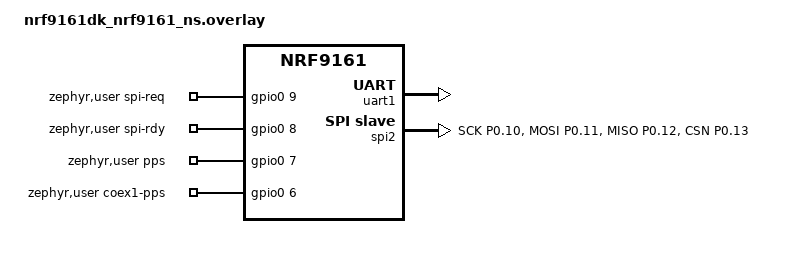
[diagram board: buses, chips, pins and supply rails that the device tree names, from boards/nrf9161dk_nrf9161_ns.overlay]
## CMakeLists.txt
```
#
# Copyright (c) 2024 Nordic Semiconductor
#
# SPDX-License-Identifier: LicenseRef-Nordic-5-Clause
#

cmake_minimum_required(VERSION 3.20.0)

find_package(Zephyr REQUIRED HINTS $ENV{ZEPHYR_BASE})
project(dect_tdma)

file(GLOB app_sources src/*.c)
target_sources(app PRIVATE ${app_sources})
```

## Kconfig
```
#
# Copyright (c) 2024 Nordic Semiconductor
#
# SPDX-License-Identifier: LicenseRef-Nordic-5-Clause
#

menu "TDMA link"

choice
	prompt "TDMA role"
	default TDMA_ROLE_MASTER
	help
	  Which end of the link this image is. The master owns the time base and
	  transmits unconditionally; the slave acquires the master's grid and
	  tracks its clock. Both use the same schedule; only the source of the
	  epoch differs.

config TDMA_ROLE_MASTER
	bool "Master (owns the time base)"

config TDMA_ROLE_SLAVE
	bool "Slave (synchronizes to the master)"

endchoice

endmenu

config CARRIER
	int "Carrier to use"
	default 0
	help
	   The availability of the channels and the exact regulation to use them varies in different countries.
	   See ETSI TS 103 636-2 5.4.2 for the calculation.
	   Band index 1 is set when the carrier is within the range of 525 to 551.
	   This is the only range allowed for band index 1 as other carriers will interfere with other radio devices, including LTE devices.

config NETWORK_ID
	int "Network ID"
	range 1 4294967295
	default 91

config MCS
	int "MCS"
	default 1
	help
	   The MCS impacts how much data can fit into each subslot. prj.conf sets 4.

config TX_POWER
	int "TX power"
	range 0 13
	default 13
	help
	   Transmission power index.
	   See table 6.2.1-3 of ETSI TS 103 636-4 v1.5.1.

menu "Zephyr Kernel"
source "Kconfig.zephyr"
endmenu
```

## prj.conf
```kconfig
# Logging over the VCOM UART
CONFIG_LOG=y
CONFIG_LOG_MODE_DEFERRED=y
CONFIG_SERIAL=y
CONFIG_CONSOLE=y
CONFIG_UART_CONSOLE=y
CONFIG_PRINTK=y
CONFIG_LOG_PRINTK=y
CONFIG_CBPRINTF_FP_SUPPORT=n

# Modem / DECT PHY
CONFIG_NRF_MODEM_LIB=y
CONFIG_NRF_MODEM_LINK_BINARY_DECT_PHY=y
CONFIG_MODEM_ANTENNA=n
CONFIG_MCS=4

# The modem event handler runs on the system workqueue; it must be
# preemptible and below the app threads so TX submission is not delayed
CONFIG_HEAP_MEM_POOL_SIZE=8192
CONFIG_MAIN_STACK_SIZE=4096
CONFIG_SYSTEM_WORKQUEUE_PRIORITY=6
CONFIG_SYSTEM_WORKQUEUE_STACK_SIZE=4096

# SPI slave towards the Teensy, plus the REQ/RDY handshake GPIOs
CONFIG_GPIO=y
CONFIG_NRFX_TIMER=y
CONFIG_NRFX_GPPI=y
CONFIG_SPI=y
CONFIG_SPI_SLAVE=y
CONFIG_SPI_ASYNC=y
CONFIG_POLL=y

CONFIG_TFM_PROFILE_TYPE_MINIMAL=y
CONFIG_HWINFO=y

# Zephyr Logging Puffer deutlich vergrößern
CONFIG_LOG_BUFFER_SIZE=16384
CONFIG_LOG_SPEED=y
```

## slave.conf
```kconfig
# Build the slave image with:
#   west build -b nrf9161dk/nrf9161/ns -- -DEXTRA_CONF_FILE="slave.conf;overlay-eu.conf"
#
# The master is the default and needs no role overlay.

CONFIG_TDMA_ROLE_SLAVE=y

# Larger log buffer so per-packet logging cannot block the modem event handler
CONFIG_LOG_BUFFER_SIZE=16384
```

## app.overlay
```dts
&uart1 {
	status = "okay";
};

&pinctrl {
    spi2_default: spi2_default {
        group1 {
            psels = <
                NRF_PSEL(SPIS_SCK,  0, 10)
                NRF_PSEL(SPIS_MOSI, 0, 11)
                NRF_PSEL(SPIS_MISO, 0, 12)
                NRF_PSEL(SPIS_CSN,  0, 13)
            >;
        };
    };
};

&spi2 {
    compatible = "nordic,nrf-spis";
    status = "okay";
    pinctrl-0 = <&spi2_default>;
    pinctrl-names = "default";
    def-char = <0xFF>;
};

/ {
    zephyr,user {
        coex1-pps-gpios = <&gpio0 6 GPIO_ACTIVE_HIGH>;
        pps-gpios = <&gpio0 7 GPIO_ACTIVE_HIGH>;
    };

    aliases {
        drdy-pin = &drdy_out;
        sw0 = &button0;
    };

    outputs {
        compatible = "gpio-leds";
        drdy_out: drdy_out {
            /* Adjust the pin number to whichever nRF pin you are using */
            gpios = <&gpio0 9 GPIO_ACTIVE_HIGH>;
            label = "Data Ready Output Pin";
        };
    };

    /* Falls das Board-Target Buttons nicht standardmäßig aktiviert hat,
    * wird button0 hier explizit auf den P0.08 (oder den DK-spezifischen Pin) gemappt:
    */
    &gpio0 {
        status = "okay";
    };
};
```

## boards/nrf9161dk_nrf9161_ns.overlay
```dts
/*
 * Copyright (c) 2026 Nordic Semiconductor ASA
 *
 * SPDX-License-Identifier: LicenseRef-Nordic-5-Clause
 */

#include <samples/cellular/nrf91_no_bootloader_partitions.dtsi>
#include <zephyr/dt-bindings/pinctrl/nrf-pinctrl.h>

/delete-node/ &sram0_s;
/delete-node/ &sram0_ns;

&sram0 {
	/*
	 * 0x2000_0000  Secure RAM                      (   32 kB)
	 * 0x2000_8000  Non-secure RAM area             (  224 kB)
	 *   0x2000_8000  Modem shared area             ( 23336 B)
	 *     0x2000_8000  control                     (  1832 B)
	 *     0x2000_8728  app -> cell                 (   15 kB)
	 *     0x2000_c328  cell -> app                 (    6 kB)
	 *   0x2000_db28  Application RAM               (206040 B)
	 */
	sram0_s: sram@0 {
		reg = <0x0 0x8000>;
	};

	sram0_ns: sram@8000 {
		reg = <0x8000 0x38000>;
		#address-cells = <1>;
		#size-cells = <1>;
		ranges = <0x0 0x8000 0x38000>;

		/* Must be in first 128 kB of RAM. */
		sram0_ns_modem: sram0_ns@0 {
			/* Modem (shared) memory */
			reg = <0x0 0x5b28>;
			#address-cells = <1>;
			#size-cells = <1>;
			ranges = <0x0 0x0 0x5b28>;

			cpuapp_cpucell_ipc_shm_ctrl: sram0_ns_modem@0 {
				/* Modem IPC control */
				reg = <0x0 0x728>;
			};

			cpuapp_cpucell_ipc_shm_heap: sram0_ns_modem@728 {
				/* Modem IPC transmit */
				reg = <0x728 0x3c00>;
			};

			cpucell_cpuapp_ipc_shm_heap: sram0_ns_modem@4328 {
				/* Modem IPC receive */
				reg = <0x4328 0x1800>;
			};
		};

		sram0_ns_app: sram0_ns@5b28 {
			/* Non-Secure application memory */
			reg = <0x5b28 0x324d8>;
		};
	};
};

&uart1 {
	status = "okay";
};

&pinctrl {
    spi2_default: spi2_default {
        group1 {
            psels = <
                NRF_PSEL(SPIS_SCK,  0, 10)
                NRF_PSEL(SPIS_MOSI, 0, 11)
                NRF_PSEL(SPIS_MISO, 0, 12)
                NRF_PSEL(SPIS_CSN,  0, 13)
            >;
            nordic,drive-mode = <NRF_DRIVE_H0H1>;
        };
    };
};

spi_slave: &spi2 {
    compatible = "nordic,nrf-spis";
    status = "okay";
    pinctrl-0 = <&spi2_default>;
    pinctrl-names = "default";
    def-char = <0xFF>;
};

/ {
    zephyr,user {
        /* Raw outputs for high-speed handshake */
        spi-req-gpios = <&gpio0 9 GPIO_ACTIVE_HIGH>;
        spi-rdy-gpios = <&gpio0 8 GPIO_ACTIVE_HIGH>;
        pps-gpios = <&gpio0 7 GPIO_ACTIVE_HIGH>;
	coex1-pps-gpios = <&gpio0 6 GPIO_ACTIVE_HIGH>;
    };
};
```

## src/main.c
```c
#include <zephyr/kernel.h>
#include <zephyr/logging/log.h>

#include "bridge.h"

LOG_MODULE_REGISTER(bridge, LOG_LEVEL_INF);

#define CONFIG_ENABLE_LOGGING 1

/* In main.c oben einfügen (ohne extra .h Datei): */
extern void init_test_button(void);
extern volatile bool tx_suppressed;

/* One pool and queue per direction, see bridge.h. */
K_MEM_SLAB_DEFINE(bridge_frame_slab_dect_tx, sizeof(struct bridge_frame), FRAME_POOL_COUNT, 4);
K_MEM_SLAB_DEFINE(bridge_frame_slab_spi_tx, sizeof(struct bridge_frame), FRAME_POOL_COUNT, 4);
K_MSGQ_DEFINE(bridge_dect_tx_q, sizeof(struct bridge_frame *), FRAME_POOL_COUNT, 4);
K_MSGQ_DEFINE(bridge_spi_tx_q, sizeof(struct bridge_frame *), FRAME_POOL_COUNT, 4);

/* Stats reporter. Runs at the lowest application priority so the log
 * packaging can never delay a time-critical path; main() is not used for this
 * because it runs at priority 0, tied with dect.c's tx_tid.
 */
static void report_thread(void)
{
	while (1)
	{
 		k_sleep(K_SECONDS(5));
		#if IS_ENABLED(CONFIG_ENABLE_LOGGING)
		LOG_INF("-----");
		dect_log_stats();
		LOG_INF("-----");
		spi_bridge_log_stats();
		#endif
	}
}

K_THREAD_DEFINE(report_tid, 2048, report_thread, NULL, NULL, NULL,
				K_LOWEST_APPLICATION_THREAD_PRIO, 0, 0);

int main(void)
{
	int err;

	LOG_INF("bridge starting: 2x %u frames of %u B (%u B total pool)",
			FRAME_POOL_COUNT, (unsigned)sizeof(struct bridge_frame),
			(unsigned)(2 * FRAME_POOL_COUNT * sizeof(struct bridge_frame)));

	/* SPI first: it configures the handshake GPIOs its thread waits for. */
	err = spi_bridge_init();
	if (err)
	{
		LOG_ERR("SPI init failed, err %d", err);
		return err;
	}

	err = dect_init();
	if (err)
	{
		LOG_ERR("DECT init failed, err %d", err);
		return err;
	}

	#if defined(CONFIG_TDMA_ROLE_MASTER)
		/* Button auf dem Master initialisieren */
		init_test_button();
	#endif

	/* Everything runs in its own threads from here on. */
	return 0;
}
```

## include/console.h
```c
#ifndef CONSOLE_H
#define CONSOLE_H

/* * Define a "Function Pointer" type.
 * This says: a console_callback_t is any function that takes a 'const char *' and returns void.
 */
typedef void (*console_callback_t)(const char *cmd);

/* Public API Functions */
void console_init(void);
void console_set_callback(console_callback_t cb);

#endif /* CONSOLE_H */
```

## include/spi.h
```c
#ifndef SPI_H
#define SPI_H

#include <stdint.h>

#define BUF_SIZE 32

/* Define a callback type for when SPI data arrives.
 * We pass the buffer and its length to main.c
 */
typedef void (*spi_rx_callback_t)(const uint8_t *data, uint32_t len);

void spi_init(void);
void spi_set_callback(spi_rx_callback_t cb);

/* Sends a string message over SPI */
void spi_send(const char *message);

#endif /* SPI_H */
```

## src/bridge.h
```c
#ifndef BRIDGE_H
#define BRIDGE_H

/*
 * bridge.h -- internal glue between spi.c, dect.c and main.c: the buffer
 * layout, the pools, the two queues and each module's entry points.
 * protocol.h is the wire contract shared with the Teensy boards.
 *
 * Data flow, one direction (both boards run both):
 *
 *   Teensy A --SPI--> spi.c --bridge_dect_tx_q--> dect.c --air-->
 *   --air--> dect.c --bridge_spi_tx_q--> spi.c --SPI--> Teensy B
 */

#include <stdint.h>
#include <stddef.h>
#include <zephyr/kernel.h>

#include "protocol.h"

/* Largest Ethernet frame the Teensy can hand us (802.1Q tagged, no FCS). */
#define ETH_MAX_PAYLOAD 1522

/* Frames in flight anywhere in the bridge. */
#define FRAME_POOL_COUNT 16

/*
 * The one buffer layout used everywhere.
 *
 *   offset  0 : nrf_tx_rx_header                       30 B
 *               +0  union { cycle, tx_start_lo }             <- written by dect.c on TX
 *                         { dect_rx_ns, nrf_spi_tx_ns }      <- dect_rx_ns set on RX
 *               +8  nrf_spi_rx_ns
 *               +12 dect_tx_ns
 *               +16 t_rx                               14 B  <- SPI RX lands here
 *   offset 30 : eth[]                                        <- payload continues here
 *
 * Because t_rx is the last member of nrf_tx_rx_header, one SPI read of
 * sizeof(t_rx_header) + eth_len bytes starting at &frame->hdr.t_rx fills the
 * Teensy's header and the Ethernet payload in a single transfer, with the
 * locally owned timestamp words already in front of it. On the far side the
 * same buffer goes out over SPI verbatim from offset 0. The asserts below keep
 * this layout safe against edits to protocol.h.
 */
struct bridge_frame
{
	nrf_tx_rx_header hdr;
	uint8_t eth[ETH_MAX_PAYLOAD];
} __packed;

BUILD_ASSERT(sizeof(t_rx_header) == 14, "t_rx_header changed size");
BUILD_ASSERT(sizeof(nrf_tx_rx_header) == 34, "nrf_tx_rx_header changed size");
BUILD_ASSERT(sizeof(t_tx_header) == 42, "t_tx_header changed size");
BUILD_ASSERT(offsetof(nrf_tx_rx_header, t_rx) + sizeof(t_rx_header) ==
				 sizeof(nrf_tx_rx_header),
			 "t_rx must stay last in nrf_tx_rx_header: the SPI RX writes in place");
BUILD_ASSERT(offsetof(struct bridge_frame, eth) == sizeof(nrf_tx_rx_header),
			 "eth[] must follow t_rx with no padding");
BUILD_ASSERT(sizeof(struct bridge_frame) % 4 == 0,
			 "slab block size must be a multiple of the slab alignment");

/* Bytes on the SPI wire in one data phase, per direction, excluding payload. */
#define SPI_RX_HDR_BYTES ((uint16_t)sizeof(t_rx_header))	  /* Teensy A -> nRF */
#define SPI_TX_HDR_BYTES ((uint16_t)sizeof(nrf_tx_rx_header)) /* nRF -> Teensy B */

/* Defined in main.c. One pool per direction rather than a shared one, so
 * frames stuck in one queue (e.g. bridge_spi_tx_q behind a slow Teensy) can
 * never starve the other direction's allocations.
 */
extern struct k_mem_slab bridge_frame_slab_dect_tx; /* feeds bridge_dect_tx_q */
extern struct k_mem_slab bridge_frame_slab_spi_tx;	/* feeds bridge_spi_tx_q */
extern struct k_msgq bridge_dect_tx_q;				/* SPI RX  -> DECT TX */
extern struct k_msgq bridge_spi_tx_q;				/* DECT RX -> SPI TX */

static inline int bridge_dect_tx_frame_alloc(struct bridge_frame **frame, k_timeout_t timeout)
{
	return k_mem_slab_alloc(&bridge_frame_slab_dect_tx, (void **)frame, timeout);
}

static inline void bridge_dect_tx_frame_free(struct bridge_frame *frame)
{
	k_mem_slab_free(&bridge_frame_slab_dect_tx, (void *)frame);
}

static inline int bridge_spi_tx_frame_alloc(struct bridge_frame **frame, k_timeout_t timeout)
{
	return k_mem_slab_alloc(&bridge_frame_slab_spi_tx, (void **)frame, timeout);
}

static inline void bridge_spi_tx_frame_free(struct bridge_frame *frame)
{
	k_mem_slab_free(&bridge_frame_slab_spi_tx, (void *)frame);
}

/* spi.c */
int spi_bridge_init(void);
void spi_bridge_tx_notify(void); /* a frame is waiting: ask the Teensy for clocks */
void spi_bridge_log_stats(void);

/* dect.c */
int dect_init(void);
void dect_log_stats(void);
/* Converts a k_uptime_ticks() sample into the "ns since PPS edge" frame that
 * dect_tx_ns / dect_rx_ns are expressed in.
 */
uint32_t dect_uptime_to_ns_since_pps(int64_t uptime_ticks);

#endif /* BRIDGE_H */
```

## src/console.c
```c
#include <zephyr/kernel.h>
#include <zephyr/drivers/uart.h>
#include <string.h>
#include "console.h"

#define RX_BUF_SIZE 64
static uint8_t rx_double_buf[2][RX_BUF_SIZE];
static char cmd_buf[RX_BUF_SIZE + 1];

const struct device *uart_dev = DEVICE_DT_GET(DT_CHOSEN(zephyr_console));
K_SEM_DEFINE(uart_rx_sem, 0, 1);

// This variable holds the function main() will pass to us
static console_callback_t user_callback = NULL;

void console_set_callback(console_callback_t cb) {
    user_callback = cb;
}

static void uart_cb(const struct device *dev, struct uart_event *evt, void *user_data) {
    switch (evt->type) {
    case UART_RX_RDY:
        memcpy(cmd_buf, evt->data.rx.buf + evt->data.rx.offset, evt->data.rx.len);
        cmd_buf[evt->data.rx.len] = '\0'; 
        k_sem_give(&uart_rx_sem);
        break;
    case UART_RX_BUF_REQUEST:
        uart_rx_buf_rsp(dev, rx_double_buf[1], RX_BUF_SIZE);
        break;
    case UART_RX_DISABLED:
        uart_rx_enable(dev, rx_double_buf[0], RX_BUF_SIZE, 1000);
        break;
    default:
        break;
    }
}

void console_thread_entry(void *arg1, void *arg2, void *arg3) {
    uart_callback_set(uart_dev, uart_cb, NULL);
    uart_rx_enable(uart_dev, rx_double_buf[0], RX_BUF_SIZE, 1000);
    
    while (1) {
        k_sem_take(&uart_rx_sem, K_FOREVER);
        
        // If main.c has registered a callback, trigger it and pass the string!
        if (user_callback != NULL) {
            user_callback(cmd_buf);
        }
    }
}

// Start the background thread automatically
K_THREAD_DEFINE(console_tid, 1024, console_thread_entry, NULL, NULL, NULL, 8, 0, 0);

// A simple init check you can call from main
void console_init(void) {
    if (!device_is_ready(uart_dev)) {
        printk("Console UART not ready!\n");
    }
}
```

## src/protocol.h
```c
#ifndef PROTOCOL_H
#define PROTOCOL_H

#include <stdint.h>

#define PPS_SYNC_MAGIC 0x50505331U /* "PPS1" - Kennung für reine 1PPS-Sync-Pakete */

typedef struct __attribute__((packed))
{
    uint16_t eth_payload_len; // Length of raw Ethernet frame to transmit later
    uint32_t delay_budget_ns; // Max allowed bridge transit time
    uint32_t eth_rx_ns;       // Teensy Eth RX PTP Timestamp
    uint32_t t_spi_tx_ns;     // Teensy SPI TX PTP Timestamp
} t_rx_header;

typedef struct __attribute__((packed))
{
    union // 8-byte in-place mutation block
    {
        struct __attribute__((packed))
        {
            uint32_t cycle;       // nrf dect tx
            uint32_t tx_start_lo; // nrf dect tx
        } dect_sched_header;

        struct __attribute__((packed))
        {
            uint32_t dect_rx_ns;    // nrf dect rx Timestamp
            uint32_t nrf_spi_tx_ns; //  nrf spi tx Timestamp
        } nrf_rx_header;
    };

    uint32_t nrf_spi_rx_ns; // nrf spi rx Timestamp
    uint32_t dect_tx_ns;    // nrf dect tx Timestamp
    uint32_t slave_pps_phase_ns; // Phase des Slave-COEX1 in der Master-1PPS-Sekunde [ns]

    t_rx_header t_rx; // 14 bytes inherited from Teensy

} nrf_tx_rx_header;

typedef struct __attribute__((packed))
{
    nrf_tx_rx_header nrf_tx_rx; // Contains all 6 previous timestamps
    uint32_t t_spi_rx_ns;       // Teensy B: SPI RX PTP Timestamp
    uint32_t t_eth_tx_ns;       // Teensy B: Eth TX PTP Timestamp
} t_tx_header;

#endif
```

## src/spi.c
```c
#include <string.h>
#include <zephyr/kernel.h>
#include <zephyr/device.h>
#include <zephyr/drivers/spi.h>
#include <zephyr/drivers/gpio.h>
#include <zephyr/logging/log.h>

#include <hal/nrf_spis.h>

#include "bridge.h"

LOG_MODULE_REGISTER(spi_bridge, LOG_LEVEL_INF);

static const struct device *spi_dev = DEVICE_DT_GET(DT_NODELABEL(spi_slave));

/* Same peripheral as spi_dev. spi_xfer() reads SEMSTAT (semaphore ownership),
 * which the Zephyr/nrfx SPIS driver does not expose. It is read-only, so this
 * does not race the driver.
 */
#define SPIS_REG ((NRF_SPIS_Type *)DT_REG_ADDR(DT_NODELABEL(spi_slave)))

static const struct spi_config spi_cfg = {
	.operation = SPI_WORD_SET(8) | SPI_TRANSFER_MSB | SPI_OP_MODE_SLAVE,
	.frequency = 0,
	.cs = {.delay = 0},
};

static const struct gpio_dt_spec req_pin = GPIO_DT_SPEC_GET(DT_PATH(zephyr_user), spi_req_gpios);
static const struct gpio_dt_spec rdy_pin = GPIO_DT_SPEC_GET(DT_PATH(zephyr_user), spi_rdy_gpios);

/* Released by spi_bridge_init() once the GPIOs and SPI device are ready. */
K_SEM_DEFINE(spi_start_sem, 0, 1);

static struct k_poll_signal spi_done_sig;
static struct k_poll_event spi_done_evt;

static struct
{
	atomic_t rx_frames, tx_frames, rx_bytes, tx_bytes;
	atomic_t len_err, xfer_err, nobuf, qfull, hdr_len_mismatch;
} sstats;

/* Pause between arm-failure retries in spi_xfer(). Arm failures are local
 * and invisible to the Teensy, so this only keeps a persistent fault from
 * hot-looping the thread.
 */
#define SPI_ARM_RETRY_MS 50

/* Upper bound on the SEMSTAT spin in spi_xfer(), in ~1 us iterations. The
 * driver's ACQUIRED ISR normally releases the semaphore within a few
 * microseconds; reaching this cap means that ISR is not running.
 */
#define SPI_ARM_SEM_MAX_SPINS 256

/* ------------------------------------------------------------------------- */

/* Arm a transceive, tell the master it may clock, and wait for completion.
 * Either buffer set may be NULL for a one-directional phase. An arm failure
 * is retried in place (the Teensy is still waiting for RDY); an error on
 * completion is logged but not retried, since the Teensy has already run its
 * side of the phase and redoing it could desync the link.
 */
static void spi_xfer(const struct spi_buf_set *tx, const struct spi_buf_set *rx)
{
	int err;

	for (;;)
	{
		k_poll_signal_reset(&spi_done_sig);
		spi_done_evt.state = K_POLL_STATE_NOT_READY;

		err = spi_transceive_signal(spi_dev, &spi_cfg, tx, rx, &spi_done_sig);
		if (err == 0)
		{
			break;
		}

		atomic_inc(&sstats.xfer_err);
		LOG_ERR("SPI arm failed: %d, retrying in %d ms", err, SPI_ARM_RETRY_MS);
		k_sleep(K_MSEC(SPI_ARM_RETRY_MS));
	}

	/* spi_transceive_signal() returning 0 only means the driver has triggered
	 * the ACQUIRE task. Arming finishes when its ACQUIRED ISR writes the
	 * EasyDMA pointers and triggers RELEASE. A transaction started before that
	 * is ignored (0xff on MISO for the whole frame), so the Teensy would read a
	 * 0xffff length and desync. Hold RDY until the semaphore is no longer the
	 * CPU's (an armed, idle SPIS reads FREE). The spin is capped so a
	 * peripheral whose ISR never runs fails loudly instead of hanging.
	 */
	for (uint32_t spins = 0;
		nrf_spis_semaphore_status_get(SPIS_REG) != NRF_SPIS_SEMSTAT_FREE;
		spins++)
	{
		if (spins >= SPI_ARM_SEM_MAX_SPINS)
		{
			atomic_inc(&sstats.xfer_err);
			LOG_ERR("SPIS semaphore still CPU-held ~%u us after arm "
					"(SEMSTAT=%d); raising RDY anyway, the next length "
					"exchange will likely be corrupt",
					spins, (int)nrf_spis_semaphore_status_get(SPIS_REG));
			break;
		}
		k_busy_wait(1);
	}

	gpio_pin_set_dt(&rdy_pin, 1);
	k_poll(&spi_done_evt, 1, K_FOREVER);
	gpio_pin_set_dt(&rdy_pin, 0);

	/* A negative result means the transfer did not happen as asked; it is
	 * not retried, see above.
	 */
	if (spi_done_sig.result < 0)
	{
		atomic_inc(&sstats.xfer_err);
		LOG_ERR("SPI transfer completed with error: %d", spi_done_sig.result);
	}
}

/* A frame has been received into *rx_frame. Hand it on and swap in a fresh
 * buffer. If the pool or the queue is full the frame is dropped and its buffer
 * reused, so the thread always owns a receive buffer and never blocks.
 */
static void handle_rx(struct bridge_frame **rx_frame, uint16_t eth_len, int64_t rx_uptime)
{
	struct bridge_frame *frame = *rx_frame;
	struct bridge_frame *next;

	/* rx_uptime was sampled right after spi_xfer() returned. */
	frame->hdr.nrf_spi_rx_ns = dect_uptime_to_ns_since_pps(rx_uptime);

	if (frame->hdr.t_rx.eth_payload_len != eth_len)
	{
		/* The wire length is what landed in the buffer, so it wins. */
		atomic_inc(&sstats.hdr_len_mismatch);
		frame->hdr.t_rx.eth_payload_len = eth_len;
	}

	atomic_inc(&sstats.rx_frames);
	atomic_add(&sstats.rx_bytes, eth_len);

	if (bridge_dect_tx_frame_alloc(&next, K_NO_WAIT) != 0)
	{
		atomic_inc(&sstats.nobuf);
		return; /* keep the buffer, drop the frame */
	}
	if (k_msgq_put(&bridge_dect_tx_q, &frame, K_NO_WAIT) != 0)
	{
		atomic_inc(&sstats.qfull);
		bridge_dect_tx_frame_free(next);
		return;
	}
	*rx_frame = next;
}

static void spi_slave_thread(void)
{
	struct bridge_frame *rx_frame = NULL;
	struct bridge_frame *tx_frame = NULL;

	uint16_t tx_total = 0;
	uint16_t rx_total = 0;

	struct spi_buf tx_len_buf = {.buf = &tx_total, .len = sizeof(tx_total)};
	struct spi_buf_set tx_len_bufs = {.buffers = &tx_len_buf, .count = 1};
	struct spi_buf rx_len_buf = {.buf = &rx_total, .len = sizeof(rx_total)};
	struct spi_buf_set rx_len_bufs = {.buffers = &rx_len_buf, .count = 1};

	struct spi_buf tx_buf = {0};
	struct spi_buf_set tx_bufs = {.buffers = &tx_buf, .count = 1};
	struct spi_buf rx_buf = {0};
	struct spi_buf_set rx_bufs = {.buffers = &rx_buf, .count = 1};

	k_poll_signal_init(&spi_done_sig);
	k_poll_event_init(&spi_done_evt, K_POLL_TYPE_SIGNAL,
					  K_POLL_MODE_NOTIFY_ONLY, &spi_done_sig);

	k_sem_take(&spi_start_sem, K_FOREVER);

	/* Pre-allocate the first RX buffer. */
	bridge_dect_tx_frame_alloc(&rx_frame, K_FOREVER);

	while (1)
	{
		uint16_t rx_eth = 0;
		bool do_rx = false;

		/* ---- what do we have to send? --------------------------- */
		if (tx_frame == NULL)
		{
			struct bridge_frame *next;

			if (k_msgq_get(&bridge_spi_tx_q, &next, K_NO_WAIT) == 0)
			{
				tx_frame = next;
				gpio_pin_set_dt(&req_pin, 1);
			}
		}

		if (tx_frame != NULL)
		{
			tx_total = SPI_TX_HDR_BYTES +
					   tx_frame->hdr.t_rx.eth_payload_len;
			tx_buf.buf = &tx_frame->hdr;
			tx_buf.len = tx_total;
		}
		else
		{
			tx_total = 0;
		}

		/* ---- phase 1: length exchange --------------------------- */
		rx_total = 0;
		spi_xfer(&tx_len_bufs, &rx_len_bufs);

		/* Nothing on the wire in either direction (the Teensy applies the
		 * same check): retry the length exchange.
		 */
		if (tx_total == 0 && rx_total == 0)
		{
			continue;
		}

		/* ---- phase 2 setup ------------------------------------- */
		if (rx_total != 0)
		{
			if (rx_total < SPI_RX_HDR_BYTES ||
				rx_total > SPI_RX_HDR_BYTES + ETH_MAX_PAYLOAD)
			{
				LOG_WRN("bad RX length %u announced", rx_total);
				atomic_inc(&sstats.len_err);
				/* Phase 2 still runs, but do_rx stays false so the DMA
				 * is not pointed at rx_frame with an untrusted length.
				 */
			}
			else
			{
				rx_eth = rx_total - SPI_RX_HDR_BYTES;

				/* Zero the words this side owns; they are not
				 * on the wire and the slab block is dirty.
				 */
				memset(&rx_frame->hdr, 0,
					   offsetof(nrf_tx_rx_header, t_rx));

				rx_buf.buf = &rx_frame->hdr.t_rx;
				rx_buf.len = rx_total;
				do_rx = true;
			}
		}

		/* ---- phase 2: data exchange ------------------------------ */
		spi_xfer(tx_total ? &tx_bufs : NULL, do_rx ? &rx_bufs : NULL);

		/* Sampled here, not in handle_rx(), so handling time is not
		 * folded into the timestamp.
		 */
		int64_t rx_uptime = k_uptime_ticks();

		if (do_rx)
		{
			handle_rx(&rx_frame, rx_eth, rx_uptime);
		}

		if (tx_frame != NULL)
		{
			atomic_inc(&sstats.tx_frames);
			atomic_add(&sstats.tx_bytes,
					   tx_total - SPI_TX_HDR_BYTES);
			bridge_spi_tx_frame_free(tx_frame);
			tx_frame = NULL;

			/* REQ comes down here only; the dequeue at the top of
			 * the loop re-asserts it if more is waiting.
			 */
			gpio_pin_set_dt(&req_pin, 0);
		}
	}
}

/* Priority 7, the lowest in the app (dect.c: tx_tid 0, scheduler_tid 5, system
 * workqueue 6). DECT TX timing is the tighter constraint, so this thread yields
 * to it. The cost: if this thread is late re-arming, the Teensy's next length
 * field reads as garbage, showing up as "bad RX length" warnings or hdr_mm /
 * len_err growth in spi_bridge_log_stats(). If that happens, raise this
 * priority, at least above the system workqueue.
 */
K_THREAD_DEFINE(spi_tid, 4096, spi_slave_thread, NULL, NULL, NULL, 7, 0, 0);

/* ------------------------------------------------------------------------- */

/* dect.c calls this right after putting a frame on bridge_spi_tx_q, to raise
 * REQ even while the thread is parked in spi_xfer(). The Teensy only clocks
 * in response to REQ or its own data, so without this a frame queued during
 * an idle length exchange would not be announced.
 */
void spi_bridge_tx_notify(void)
{
	gpio_pin_set_dt(&req_pin, 1);
}

int spi_bridge_init(void)
{
	int err;

	if (!device_is_ready(spi_dev))
	{
		LOG_ERR("SPI device not ready");
		return -ENODEV;
	}

	err = gpio_pin_configure_dt(&req_pin, GPIO_OUTPUT_INACTIVE);
	if (err)
	{
		LOG_ERR("REQ pin configure failed, err %d", err);
		return err;
	}

	err = gpio_pin_configure_dt(&rdy_pin, GPIO_OUTPUT_INACTIVE);
	if (err)
	{
		LOG_ERR("RDY pin configure failed, err %d", err);
		return err;
	}

	LOG_INF("SPI slave ready: rx hdr %u B, tx hdr %u B, eth max %u B",
			SPI_RX_HDR_BYTES, SPI_TX_HDR_BYTES, ETH_MAX_PAYLOAD);

	k_sem_give(&spi_start_sem);
	return 0;
}

void spi_bridge_log_stats(void)
{
	uint32_t rxb = (uint32_t)atomic_set(&sstats.rx_bytes, 0);
	uint32_t txb = (uint32_t)atomic_set(&sstats.tx_bytes, 0);

	LOG_INF("  spi: rx %ld frm %u B/s | tx %ld frm %u B/s | "
			"len_err %ld xfer_err %ld nobuf %ld qfull %ld hdr_mm %ld",
			atomic_get(&sstats.rx_frames), rxb,
			atomic_get(&sstats.tx_frames), txb,
			atomic_get(&sstats.len_err), atomic_get(&sstats.xfer_err),
			atomic_get(&sstats.nobuf), atomic_get(&sstats.qfull),
			atomic_get(&sstats.hdr_len_mismatch));
}
```
